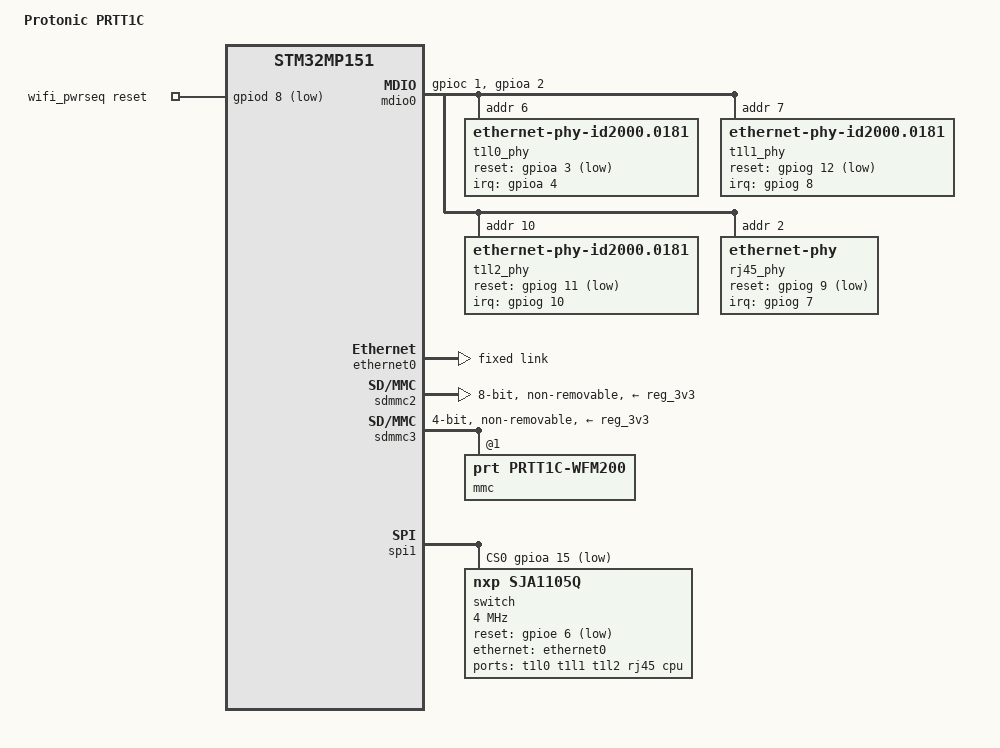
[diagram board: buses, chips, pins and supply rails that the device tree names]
// SPDX-License-Identifier: (GPL-2.0+ OR BSD-3-Clause)
/*
 * Copyright (C) Protonic Holland
 * Author: David Jander <david@protonic.nl>
 */
/dts-v1/;

#include "stm32mp151a-prtt1l.dtsi"

/ {
	model = "Protonic PRTT1C";
	compatible = "prt,prtt1c", "st,stm32mp151";

	clock_ksz9031: clock-ksz9031 {
		compatible = "fixed-clock";
		#clock-cells = <0>;
		clock-frequency = <25000000>;
	};

	clock_sja1105: clock-sja1105 {
		compatible = "fixed-clock";
		#clock-cells = <0>;
		clock-frequency = <25000000>;
	};

	mdio0: mdio {
		compatible = "virtual,mdio-gpio";
		#address-cells = <1>;
		#size-cells = <0>;
		gpios = <&gpioc 1 GPIO_ACTIVE_HIGH
			 &gpioa 2 GPIO_ACTIVE_HIGH>;

	};

	wifi_pwrseq: wifi-pwrseq {
		compatible = "mmc-pwrseq-simple";
		reset-gpios = <&gpiod 8 GPIO_ACTIVE_LOW>;
	};
};

&ethernet0 {
	fixed-link {
		speed = <100>;
		full-duplex;
	};
};

&gpioa {
	gpio-line-names =
		"", "", "", "PHY0_nRESET", "PHY0_nINT", "", "", "",
		"", "", "", "", "", "", "", "SPI1_nSS";
};

&gpiod {
	gpio-line-names =
		"", "", "", "", "", "", "", "",
		"WFM_RESET", "", "", "", "", "", "", "";
};

&gpioe {
	gpio-line-names =
		"SDMMC2_nRESET", "", "", "", "", "", "SPI1_nRESET", "",
		"", "", "", "", "WFM_nIRQ", "", "", "";
};

&gpiog {
	gpio-line-names =
		"", "", "", "", "", "", "", "PHY3_nINT",
		"PHY1_nINT", "PHY3_nRESET", "PHY2_nINT", "PHY2_nRESET",
		"PHY1_nRESET", "SPE1_PWR", "SPE0_PWR", "";
};

&mdio0 {
	/* All this DP83TD510E PHYs can't be probed before switch@0 is
	 * probed so we need to use compatible with PHYid
	 */
	/* TI DP83TD510E */
	t1l0_phy: ethernet-phy@6 {
		compatible = "ethernet-phy-id2000.0181";
		reg = <6>;
		interrupts-extended = <&gpioa 4 IRQ_TYPE_LEVEL_LOW>;
		reset-gpios = <&gpioa 3 GPIO_ACTIVE_LOW>;
		reset-assert-us = <10>;
		reset-deassert-us = <35>;
	};

	/* TI DP83TD510E */
	t1l1_phy: ethernet-phy@7 {
		compatible = "ethernet-phy-id2000.0181";
		reg = <7>;
		interrupts-extended = <&gpiog 8 IRQ_TYPE_LEVEL_LOW>;
		reset-gpios = <&gpiog 12 GPIO_ACTIVE_LOW>;
		reset-assert-us = <10>;
		reset-deassert-us = <35>;
	};

	/* TI DP83TD510E */
	t1l2_phy: ethernet-phy@10 {
		compatible = "ethernet-phy-id2000.0181";
		reg = <10>;
		interrupts-extended = <&gpiog 10 IRQ_TYPE_LEVEL_LOW>;
		reset-gpios = <&gpiog 11 GPIO_ACTIVE_LOW>;
		reset-assert-us = <10>;
		reset-deassert-us = <35>;
	};

	/* Micrel KSZ9031 */
	rj45_phy: ethernet-phy@2 {
		reg = <2>;
		interrupts-extended = <&gpiog 7 IRQ_TYPE_LEVEL_LOW>;
		reset-gpios = <&gpiog 9 GPIO_ACTIVE_LOW>;
		reset-assert-us = <10000>;
		reset-deassert-us = <1000>;

		clocks = <&clock_ksz9031>;
	};
};

&qspi {
	status = "disabled";
};

&sdmmc2 {
	pinctrl-names = "default", "opendrain", "sleep";
	pinctrl-0 = <&sdmmc2_b4_pins_a &sdmmc2_d47_pins_a>;
	pinctrl-1 = <&sdmmc2_b4_od_pins_a &sdmmc2_d47_pins_a>;
	pinctrl-2 = <&sdmmc2_b4_sleep_pins_a &sdmmc2_d47_sleep_pins_a>;
	non-removable;
	no-sd;
	no-sdio;
	no-1-8-v;
	st,neg-edge;
	bus-width = <8>;
	vmmc-supply = <&reg_3v3>;
	vqmmc-supply = <&reg_3v3>;
	status = "okay";
};

&sdmmc2_b4_od_pins_a {
	pins1 {
		pinmux = <STM32_PINMUX('B', 14, AF9)>, /* SDMMC2_D0 */
			 <STM32_PINMUX('B', 7, AF10)>, /* SDMMC2_D1 */
			 <STM32_PINMUX('B', 3, AF9)>, /* SDMMC2_D2 */
			 <STM32_PINMUX('B', 4, AF9)>; /* SDMMC2_D3 */
	};
};

&sdmmc2_b4_pins_a {
	pins1 {
		pinmux = <STM32_PINMUX('B', 14, AF9)>, /* SDMMC2_D0 */
			 <STM32_PINMUX('B', 7, AF10)>, /* SDMMC2_D1 */
			 <STM32_PINMUX('B', 3, AF9)>, /* SDMMC2_D2 */
			 <STM32_PINMUX('B', 4, AF9)>, /* SDMMC2_D3 */
			 <STM32_PINMUX('G', 6, AF10)>; /* SDMMC2_CMD */
	};
};

&sdmmc2_b4_sleep_pins_a {
	pins {
		pinmux = <STM32_PINMUX('B', 14, ANALOG)>, /* SDMMC2_D0 */
			 <STM32_PINMUX('B', 7, ANALOG)>, /* SDMMC2_D1 */
			 <STM32_PINMUX('B', 3, ANALOG)>, /* SDMMC2_D2 */
			 <STM32_PINMUX('B', 4, ANALOG)>, /* SDMMC2_D3 */
			 <STM32_PINMUX('E', 3, ANALOG)>, /* SDMMC2_CK */
			 <STM32_PINMUX('G', 6, ANALOG)>; /* SDMMC2_CMD */
	};
};

&sdmmc2_d47_pins_a {
	pins {
		pinmux = <STM32_PINMUX('A', 8, AF9)>, /* SDMMC2_D4 */
			 <STM32_PINMUX('A', 9, AF10)>, /* SDMMC2_D5 */
			 <STM32_PINMUX('C', 6, AF10)>, /* SDMMC2_D6 */
			 <STM32_PINMUX('C', 7, AF10)>; /* SDMMC2_D7 */
	};
};

&sdmmc2_d47_sleep_pins_a {
	pins {
		pinmux = <STM32_PINMUX('A', 8, ANALOG)>, /* SDMMC2_D4 */
			 <STM32_PINMUX('A', 9, ANALOG)>, /* SDMMC2_D5 */
			 <STM32_PINMUX('C', 6, ANALOG)>, /* SDMMC2_D6 */
			 <STM32_PINMUX('D', 3, ANALOG)>; /* SDMMC2_D7 */
	};
};

&sdmmc3 {
	pinctrl-names = "default", "opendrain", "sleep";
	pinctrl-0 = <&sdmmc3_b4_pins_b>;
	pinctrl-1 = <&sdmmc3_b4_od_pins_b>;
	pinctrl-2 = <&sdmmc3_b4_sleep_pins_b>;
	non-removable;
	no-1-8-v;
	st,neg-edge;
	bus-width = <4>;
	vmmc-supply = <&reg_3v3>;
	vqmmc-supply = <&reg_3v3>;
	mmc-pwrseq = <&wifi_pwrseq>;
	#address-cells = <1>;
	#size-cells = <0>;
	status = "okay";

	mmc@1 {
		compatible = "prt,prtt1c-wfm200", "silabs,wf200";
		reg = <1>;
	};
};

&sdmmc3_b4_od_pins_b {
	pins1 {
		pinmux = <STM32_PINMUX('D', 1, AF10)>, /* SDMMC3_D0 */
			 <STM32_PINMUX('D', 4, AF10)>, /* SDMMC3_D1 */
			 <STM32_PINMUX('D', 5, AF10)>, /* SDMMC3_D2 */
			 <STM32_PINMUX('D', 7, AF10)>; /* SDMMC3_D3 */
	};
};

&sdmmc3_b4_pins_b {
	pins1 {
		pinmux = <STM32_PINMUX('D', 1, AF10)>, /* SDMMC3_D0 */
			 <STM32_PINMUX('D', 4, AF10)>, /* SDMMC3_D1 */
			 <STM32_PINMUX('D', 5, AF10)>, /* SDMMC3_D2 */
			 <STM32_PINMUX('D', 7, AF10)>, /* SDMMC3_D3 */
			 <STM32_PINMUX('D', 0, AF10)>; /* SDMMC3_CMD */
	};
};

&sdmmc3_b4_sleep_pins_b {
	pins {
		pinmux = <STM32_PINMUX('D', 1, ANALOG)>, /* SDMMC3_D0 */
			 <STM32_PINMUX('D', 4, ANALOG)>, /* SDMMC3_D1 */
			 <STM32_PINMUX('D', 5, ANALOG)>, /* SDMMC3_D2 */
			 <STM32_PINMUX('D', 7, ANALOG)>, /* SDMMC3_D3 */
			 <STM32_PINMUX('G', 15, ANALOG)>, /* SDMMC3_CK */
			 <STM32_PINMUX('D', 0, ANALOG)>; /* SDMMC3_CMD */
	};
};

&spi1 {
	pinctrl-0 = <&spi1_pins_b>;
	pinctrl-names = "default";
	cs-gpios = <&gpioa 15 GPIO_ACTIVE_LOW>;
	/delete-property/dmas;
	/delete-property/dma-names;
	status = "okay";

	switch@0 {
		compatible = "nxp,sja1105q";
		reg = <0>;
		spi-max-frequency = <4000000>;
		spi-rx-delay-us = <1>;
		spi-tx-delay-us = <1>;
		spi-cpha;

		reset-gpios = <&gpioe 6 GPIO_ACTIVE_LOW>;

		clocks = <&clock_sja1105>;

		ports {
			#address-cells = <1>;
			#size-cells = <0>;

			port@0 {
				reg = <0>;
				label = "t1l0";
				phy-mode = "rmii";
				phy-handle = <&t1l0_phy>;
			};

			port@1 {
				reg = <1>;
				label = "t1l1";
				phy-mode = "rmii";
				phy-handle = <&t1l1_phy>;
			};

			port@2 {
				reg = <2>;
				label = "t1l2";
				phy-mode = "rmii";
				phy-handle = <&t1l2_phy>;
			};

			port@3 {
				reg = <3>;
				label = "rj45";
				phy-handle = <&rj45_phy>;
				phy-mode = "rgmii-id";
			};

			port@4 {
				reg = <4>;
				label = "cpu";
				ethernet = <&ethernet0>;
				phy-mode = "rmii";

				fixed-link {
					speed = <100>;
					full-duplex;
				};
			};
		};
	};
};
